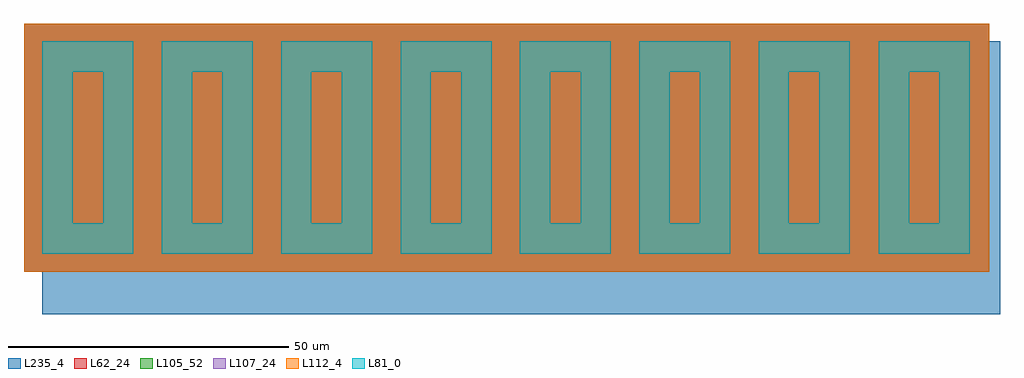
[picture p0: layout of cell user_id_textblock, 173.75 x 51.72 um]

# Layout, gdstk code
import gdstk
lib = gdstk.Library(unit=1e-6, precision=1e-09)
def R(c, l, rs):  # rectangles x0, y0, x1, y1
    for r in rs: c.add(gdstk.rectangle(r[:2], r[2:], *l))
L62_24 = (62, 24)
L81_0 = (81, 0)
L105_52 = (105, 52)
L107_24 = (107, 24)
L112_4 = (112, 4)
L235_4 = (235, 4)

alpha_0 = lib.new_cell('alpha_0')
R(alpha_0, L81_0, [(0,0,16.2,5.4), (0,5.4,5.4,32.4), (10.798,5.4,16.2,32.4), (0,32.4,16.2,37.8)])
R(alpha_0, L235_4, [(0,-10.8,21.6,37.8)])

user_id_textblock = lib.new_cell('user_id_textblock')
R(user_id_textblock, L62_24, [(-3.28,7.54,168.6,51.72)])
R(user_id_textblock, L105_52, [(-3.28,7.54,168.6,51.72)])
R(user_id_textblock, L107_24, [(-3.28,7.54,168.6,51.72)])
R(user_id_textblock, L112_4, [(-3.28,7.54,168.6,51.72)])
user_id_textblock.add(gdstk.Reference(alpha_0, (0,10.8)))
user_id_textblock.add(gdstk.Reference(alpha_0, (21.25,10.8)))
user_id_textblock.add(gdstk.Reference(alpha_0, (42.5,10.8)))
user_id_textblock.add(gdstk.Reference(alpha_0, (63.75,10.8)))
user_id_textblock.add(gdstk.Reference(alpha_0, (85,10.8)))
user_id_textblock.add(gdstk.Reference(alpha_0, (106.25,10.8)))
user_id_textblock.add(gdstk.Reference(alpha_0, (127.5,10.8)))
user_id_textblock.add(gdstk.Reference(alpha_0, (148.87,10.8)))

lib.write_gds('user_id_textblock.gds')
